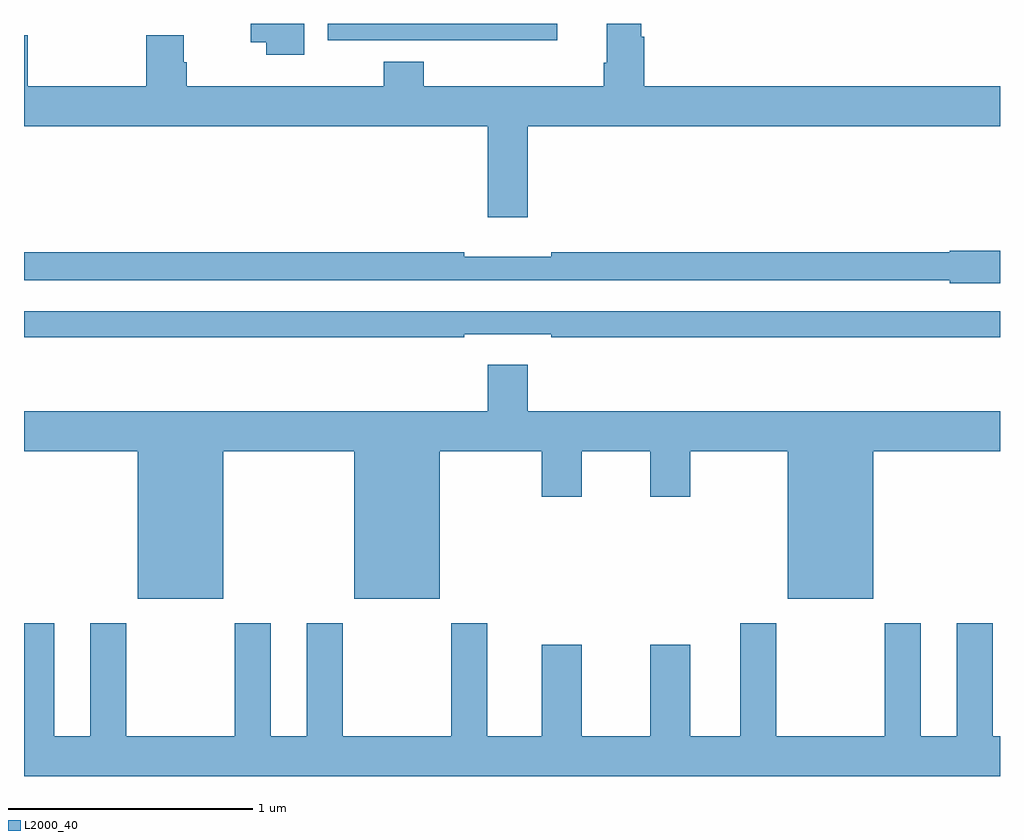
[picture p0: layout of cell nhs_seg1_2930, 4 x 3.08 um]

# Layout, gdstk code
import gdstk
lib = gdstk.Library(unit=1e-6, precision=1e-09)
def P(c, l, *ps):  # polygons
    for p in ps: c.add(gdstk.Polygon(p, *l))
L2000_40 = (2000, 40)

nhs_seg1_2930 = lib.new_cell('nhs_seg1_2930')
P(nhs_seg1_2930, L2000_40, [(273.064,503.78),(275,503.78),(275,503.944),(273.542,503.944),(273.542,504.146),(273.529,504.146),(273.529,504.199),(273.389,504.199),(273.389,504.04),(273.377,504.04),(273.377,503.944),(272.639,503.944),(272.639,504.043),(272.474,504.043),(272.474,503.944),(271.667,503.944),(271.667,504.042),(271.654,504.042),(271.654,504.152),(271.502,504.152),(271.502,503.944),(271.016,503.944),(271.016,504.152),(271,504.152),(271,503.78),(272.9,503.78),(272.9,503.406),(273.064,503.406)],
  [(273.185,504.199),(272.244,504.199),(272.244,504.132),(272.722,504.132),(272.722,504.131),(273.185,504.131)],
  [(272.149,504.199),(271.93,504.199),(271.93,504.123),(271.993,504.123),(271.993,504.072),(272.149,504.072)],
  [(275,503.27),(274.794,503.27),(274.794,503.264),(273.16,503.264),(273.16,503.245),(272.804,503.245),(272.804,503.264),(271,503.264),(271,503.148),(274.794,503.148),(274.794,503.135),(275,503.135)],
  [(272.804,502.926),(273.16,502.926),(273.16,502.914),(275,502.914),(275,503.022),(271,503.022),(271,502.914),(272.804,502.914)],
  [(271.816,502.448),(272.354,502.448),(272.354,501.842),(272.704,501.842),(272.704,502.448),(273.122,502.448),(273.122,502.26),(273.286,502.26),(273.286,502.448),(273.566,502.448),(273.566,502.26),(273.73,502.26),(273.73,502.448),(274.13,502.448),(274.13,501.842),(274.48,501.842),(274.48,502.448),(275,502.448),(275,502.612),(273.064,502.612),(273.064,502.801),(272.9,502.801),(272.9,502.612),(271,502.612),(271,502.448),(271.466,502.448),(271.466,501.842),(271.816,501.842)],
  [(275,501.28),(274.971,501.28),(274.971,501.742),(274.823,501.742),(274.823,501.28),(274.675,501.28),(274.675,501.742),(274.528,501.742),(274.528,501.28),(274.083,501.28),(274.083,501.742),(273.935,501.742),(273.935,501.28),(273.73,501.28),(273.73,501.655),(273.566,501.655),(273.566,501.28),(273.286,501.28),(273.286,501.655),(273.122,501.655),(273.122,501.28),(272.899,501.28),(272.899,501.742),(272.752,501.742),(272.752,501.28),(272.307,501.28),(272.307,501.742),(272.159,501.742),(272.159,501.28),(272.011,501.28),(272.011,501.742),(271.864,501.742),(271.864,501.28),(271.419,501.28),(271.419,501.742),(271.271,501.742),(271.271,501.28),(271.123,501.28),(271.123,501.742),(271,501.742),(271,501.116),(275,501.116)])

lib.write_gds('nhs_seg1_2930.gds')
